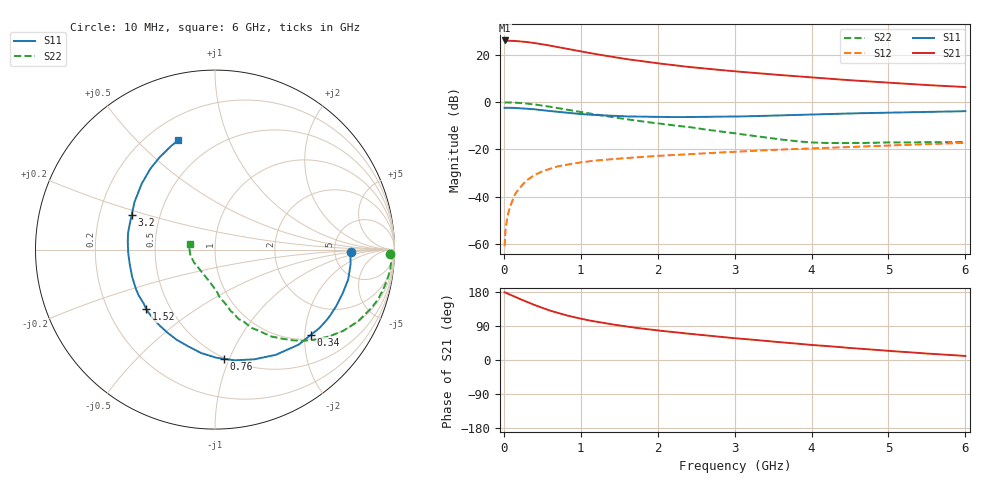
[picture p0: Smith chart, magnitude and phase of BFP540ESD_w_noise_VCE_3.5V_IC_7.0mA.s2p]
! Infineon Technologies  Discrete & RF Semiconductors
! BFP540ESD
! VCE =  3.5 V,  IC =  7.0 mA
! Common Emitter S-Parameters:  Nov 2015
# GHz  S  MA  R  50
!  f  S11  S21  S12  S22
! GHz  MAG  ANG  MAG  ANG  MAG  ANG  MAG  ANG
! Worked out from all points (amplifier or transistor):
!   210 points, 10 MHz to 6 GHz, reference 50 ohm
!   highest |S21| = 26.1 dB at 10 MHz (marker M1)
!   |S21| within 3 dB of that: start of sweep to 739.7 MHz
!   unconditionally stable (mu >= 1): 3.015 GHz to end of sweep
!   at 185 MHz: K = 0.10, MSG = 31.5 dB, |S12| = -37.2 dB
!   at 1.52 GHz: K = 0.60, MSG = 21.2 dB, |S12| = -23.8 dB
!   at 6 GHz: K = 1.18, MAG = 9.2 dB, |S12| = -17.2 dB
!   lowest NFmin = 0.76 dB at 900 MHz
!   S11 on the Smith chart (normalised r, x): 10 MHz: 7.18, -0.40; 340 MHz: 1.11, -2.15; 760 MHz: 0.49, -0.95; 1.52 GHz: 0.37, -0.33; 3.2 GHz: 0.34, +0.18; 6 GHz: 0.32, +0.67
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0.01  0.7561 -0.9  20.1 178.5  0.0009 61.3  0.9753 -1.3
0.02  0.7558 -2.9  19.82 178.1  0.0018 84.2  0.9854 -1.4
0.05  0.7599 -6.1  19.87 175.1  0.004 84.9  0.9847 -3.4
0.15  0.7521 -18.9  19.6 166.3  0.0116 78.6  0.973 -10.3
0.28  0.7311 -34.5  18.73 154.9  0.0207 74.4  0.9378 -19.0
0.34  0.7152 -41.6  18.19 150.1  0.0248 71.4  0.9143 -22.7
0.4  0.7054 -48.6  17.7 145.1  0.0286 69.0  0.8924 -26.5
0.5  0.6774 -59.9  16.77 137.4  0.0345 64.1  0.8462 -32.3
0.6  0.6493 -70.3  15.65 130.4  0.0388 60.2  0.7977 -37.4
0.76  0.6098 -85.5  14.02 121.1  0.0457 56.0  0.7208 -44.6
0.9  0.5812 -97.7  12.68 113.5  0.0503 51.8  0.658 -50.0
1.02  0.556 -106.9  11.65 108.2  0.0538 49.4  0.609 -54.1
1.2  0.5329 -120.0  10.31 101.0  0.0582 45.9  0.5451 -59.2
1.52  0.5063 -139.1  8.475 90.6  0.0644 41.9  0.453 -66.7
1.78  0.493 -152.4  7.359 83.3  0.0688 39.3  0.3958 -72.0
2.02  0.4851 -162.8  6.561 77.5  0.0733 38.2  0.3527 -75.6
2.58  0.487 176.3  5.181 65.7  0.0823 35.4  0.2685 -84.1
3.1  0.4987 160.3  4.341 55.9  0.0907 32.9  0.208 -92.3
3.2  0.5025 157.5  4.208 54.2  0.0924 32.3  0.1978 -94.8
4.1  0.553 136.2  3.235 38.3  0.1064 27.5  0.1382 -130.5
5.1  0.6042 119.4  2.517 22.7  0.1224 22.0  0.1404 -167.9
6  0.6427 108.7  2.082 10.6  0.1376 17.7  0.1437 166.4
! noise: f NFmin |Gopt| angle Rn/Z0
0.9  0.76  0.01  -71  0.11
1.8  0.97  0.09  177  0.11
2.4  0.98  0.11  174  0.1
3  1.11  0.19  -171  0.09
4  1.26  0.31  -120  0.15
5  1.48  0.43  -96  0.28
6  1.73  0.52  -98  0.43
